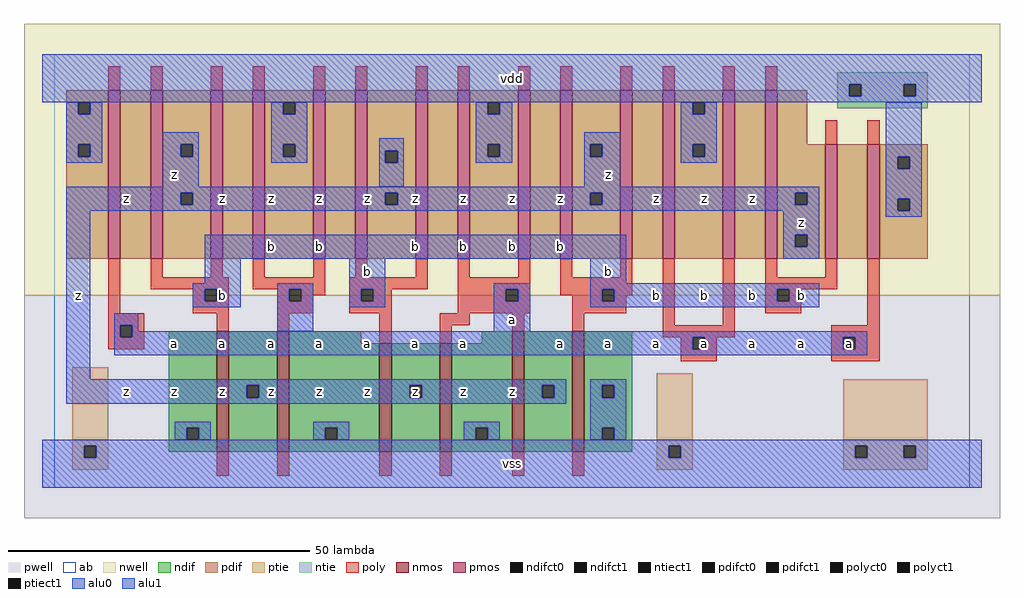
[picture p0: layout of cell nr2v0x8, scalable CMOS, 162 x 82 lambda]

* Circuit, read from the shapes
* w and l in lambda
.subckt nr2v0x8 a b vdd vss z
M1 z b vss vss nfet w=20 l=2 m=2
M2 vss a z vss nfet w=20 l=2 m=2
M3 z b vss vss nfet w=18 l=2
M4 vss a z vss nfet w=18 l=2
M5 n1 a vdd vdd pfet w=28 l=2
M6 z b n1 vdd pfet w=28 l=2
M7 n2 b z vdd pfet w=28 l=2
M8 vdd a n2 vdd pfet w=28 l=2
M9 n3 a vdd vdd pfet w=28 l=2
M10 z b n3 vdd pfet w=28 l=2
M11 n4 b z vdd pfet w=28 l=2
M12 vdd a n4 vdd pfet w=28 l=2
M13 n5 a vdd vdd pfet w=28 l=2
M14 z b n5 vdd pfet w=28 l=2
M15 n6 b z vdd pfet w=28 l=2
M16 vdd a n6 vdd pfet w=28 l=2
M17 n7 a vdd vdd pfet w=28 l=2
M18 z b n7 vdd pfet w=28 l=2
M19 n8 b z vdd pfet w=19 l=2
M20 vdd a n8 vdd pfet w=19 l=2
.ends

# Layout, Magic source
magic
tech scmos
<< ab >>
rect 0 0 152 72
<< nwell >>
rect -5 32 157 77
<< pwell >>
rect -5 -5 157 32
<< poly >>
rect 9 66 11 70
rect 16 66 18 70
rect 26 66 28 70
rect 33 66 35 70
rect 43 66 45 70
rect 50 66 52 70
rect 60 66 62 70
rect 67 66 69 70
rect 77 66 79 70
rect 84 66 86 70
rect 94 66 96 70
rect 101 66 103 70
rect 111 66 113 70
rect 118 66 120 70
rect 128 57 130 61
rect 135 57 137 61
rect 9 29 11 38
rect 16 35 18 38
rect 26 35 28 38
rect 33 35 35 38
rect 43 35 45 38
rect 50 35 52 38
rect 60 35 62 38
rect 16 33 29 35
rect 33 33 45 35
rect 23 31 25 33
rect 27 31 29 33
rect 23 29 29 31
rect 9 27 15 29
rect 9 25 11 27
rect 13 25 15 27
rect 27 26 29 29
rect 37 31 39 33
rect 41 32 45 33
rect 49 33 62 35
rect 67 35 69 38
rect 77 35 79 38
rect 67 33 79 35
rect 41 31 43 32
rect 37 29 43 31
rect 49 31 51 33
rect 53 31 56 33
rect 49 29 56 31
rect 67 31 75 33
rect 77 31 79 33
rect 84 35 86 38
rect 94 35 96 38
rect 84 33 96 35
rect 84 32 91 33
rect 67 29 79 31
rect 86 31 91 32
rect 93 32 96 33
rect 93 31 95 32
rect 86 29 95 31
rect 37 26 39 29
rect 9 23 15 25
rect 54 24 56 29
rect 64 27 69 29
rect 64 24 66 27
rect 76 26 78 29
rect 86 26 88 29
rect 101 27 103 38
rect 111 27 113 38
rect 118 35 120 38
rect 128 35 130 38
rect 118 33 130 35
rect 118 31 120 33
rect 122 31 124 33
rect 118 29 124 31
rect 135 27 137 38
rect 101 25 113 27
rect 129 25 137 27
rect 104 23 106 25
rect 108 23 110 25
rect 104 21 110 23
rect 129 23 131 25
rect 133 23 137 25
rect 129 21 137 23
rect 27 2 29 6
rect 37 2 39 6
rect 54 2 56 6
rect 64 2 66 6
rect 76 2 78 6
rect 86 2 88 6
<< ndif >>
rect 19 10 27 26
rect 19 8 22 10
rect 24 8 27 10
rect 19 6 27 8
rect 29 17 37 26
rect 29 15 32 17
rect 34 15 37 17
rect 29 6 37 15
rect 39 24 51 26
rect 71 24 76 26
rect 39 10 54 24
rect 39 8 45 10
rect 47 8 54 10
rect 39 6 54 8
rect 56 17 64 24
rect 56 15 59 17
rect 61 15 64 17
rect 56 6 64 15
rect 66 10 76 24
rect 66 8 70 10
rect 72 8 76 10
rect 66 6 76 8
rect 78 17 86 26
rect 78 15 81 17
rect 83 15 86 17
rect 78 6 86 15
rect 88 17 96 26
rect 88 15 91 17
rect 93 15 96 17
rect 88 10 96 15
rect 88 8 91 10
rect 93 8 96 10
rect 88 6 96 8
<< pdif >>
rect 2 64 9 66
rect 2 62 4 64
rect 6 62 9 64
rect 2 57 9 62
rect 2 55 4 57
rect 6 55 9 57
rect 2 38 9 55
rect 11 38 16 66
rect 18 57 26 66
rect 18 55 21 57
rect 23 55 26 57
rect 18 49 26 55
rect 18 47 21 49
rect 23 47 26 49
rect 18 38 26 47
rect 28 38 33 66
rect 35 64 43 66
rect 35 62 38 64
rect 40 62 43 64
rect 35 57 43 62
rect 35 55 38 57
rect 40 55 43 57
rect 35 38 43 55
rect 45 38 50 66
rect 52 56 60 66
rect 52 54 55 56
rect 57 54 60 56
rect 52 49 60 54
rect 52 47 55 49
rect 57 47 60 49
rect 52 38 60 47
rect 62 38 67 66
rect 69 64 77 66
rect 69 62 72 64
rect 74 62 77 64
rect 69 57 77 62
rect 69 55 72 57
rect 74 55 77 57
rect 69 38 77 55
rect 79 38 84 66
rect 86 57 94 66
rect 86 55 89 57
rect 91 55 94 57
rect 86 49 94 55
rect 86 47 89 49
rect 91 47 94 49
rect 86 38 94 47
rect 96 38 101 66
rect 103 64 111 66
rect 103 62 106 64
rect 108 62 111 64
rect 103 57 111 62
rect 103 55 106 57
rect 108 55 111 57
rect 103 38 111 55
rect 113 38 118 66
rect 120 57 125 66
rect 120 49 128 57
rect 120 47 123 49
rect 125 47 128 49
rect 120 42 128 47
rect 120 40 123 42
rect 125 40 128 42
rect 120 38 128 40
rect 130 38 135 57
rect 137 55 145 57
rect 137 53 140 55
rect 142 53 145 55
rect 137 48 145 53
rect 137 46 140 48
rect 142 46 145 48
rect 137 38 145 46
<< alu1 >>
rect -2 67 154 72
rect -2 65 132 67
rect 134 65 141 67
rect 143 65 154 67
rect -2 64 154 65
rect 18 57 24 59
rect 18 55 21 57
rect 23 55 24 57
rect 18 50 24 55
rect 88 57 94 59
rect 88 55 89 57
rect 91 55 94 57
rect 88 50 94 55
rect 2 49 127 50
rect 2 47 21 49
rect 23 47 55 49
rect 57 47 89 49
rect 91 47 123 49
rect 125 47 127 49
rect 2 46 127 47
rect 2 18 6 46
rect 121 42 127 46
rect 25 38 95 42
rect 121 40 123 42
rect 125 40 127 42
rect 121 38 127 40
rect 25 34 31 38
rect 23 33 31 34
rect 23 31 25 33
rect 27 31 31 33
rect 23 30 31 31
rect 10 27 14 29
rect 10 25 11 27
rect 13 26 14 27
rect 49 33 55 38
rect 89 34 95 38
rect 49 31 51 33
rect 53 31 55 33
rect 49 30 55 31
rect 73 33 79 34
rect 73 31 75 33
rect 77 31 79 33
rect 73 26 79 31
rect 89 33 127 34
rect 89 31 91 33
rect 93 31 120 33
rect 122 31 127 33
rect 89 30 127 31
rect 13 25 135 26
rect 10 23 106 25
rect 108 23 131 25
rect 133 23 135 25
rect 10 22 135 23
rect 2 17 85 18
rect 2 15 32 17
rect 34 15 59 17
rect 61 15 81 17
rect 83 15 85 17
rect 2 14 85 15
rect -2 7 154 8
rect -2 5 5 7
rect 7 5 102 7
rect 104 5 133 7
rect 135 5 141 7
rect 143 5 154 7
rect -2 0 154 5
<< ptie >>
rect 3 7 9 20
rect 3 5 5 7
rect 7 5 9 7
rect 100 7 106 19
rect 3 3 9 5
rect 100 5 102 7
rect 104 5 106 7
rect 100 3 106 5
rect 131 7 145 18
rect 131 5 133 7
rect 135 5 141 7
rect 143 5 145 7
rect 131 3 145 5
<< ntie >>
rect 130 67 145 69
rect 130 65 132 67
rect 134 65 141 67
rect 143 65 145 67
rect 130 63 145 65
<< nmos >>
rect 27 6 29 26
rect 37 6 39 26
rect 54 6 56 24
rect 64 6 66 24
rect 76 6 78 26
rect 86 6 88 26
<< pmos >>
rect 9 38 11 66
rect 16 38 18 66
rect 26 38 28 66
rect 33 38 35 66
rect 43 38 45 66
rect 50 38 52 66
rect 60 38 62 66
rect 67 38 69 66
rect 77 38 79 66
rect 84 38 86 66
rect 94 38 96 66
rect 101 38 103 66
rect 111 38 113 66
rect 118 38 120 66
rect 128 38 130 57
rect 135 38 137 57
<< polyct0 >>
rect 39 31 41 33
<< polyct1 >>
rect 25 31 27 33
rect 11 25 13 27
rect 51 31 53 33
rect 75 31 77 33
rect 91 31 93 33
rect 120 31 122 33
rect 106 23 108 25
rect 131 23 133 25
<< ndifct0 >>
rect 22 8 24 10
rect 45 8 47 10
rect 70 8 72 10
rect 91 15 93 17
rect 91 8 93 10
<< ndifct1 >>
rect 32 15 34 17
rect 59 15 61 17
rect 81 15 83 17
<< ntiect1 >>
rect 132 65 134 67
rect 141 65 143 67
<< ptiect1 >>
rect 5 5 7 7
rect 102 5 104 7
rect 133 5 135 7
rect 141 5 143 7
<< pdifct0 >>
rect 4 62 6 64
rect 4 55 6 57
rect 38 62 40 64
rect 38 55 40 57
rect 55 54 57 56
rect 72 62 74 64
rect 72 55 74 57
rect 106 62 108 64
rect 106 55 108 57
rect 140 53 142 55
rect 140 46 142 48
<< pdifct1 >>
rect 21 55 23 57
rect 21 47 23 49
rect 55 47 57 49
rect 89 55 91 57
rect 89 47 91 49
rect 123 47 125 49
rect 123 40 125 42
<< alu0 >>
rect 2 62 4 64
rect 6 62 8 64
rect 2 57 8 62
rect 36 62 38 64
rect 40 62 42 64
rect 2 55 4 57
rect 6 55 8 57
rect 2 54 8 55
rect 36 57 42 62
rect 70 62 72 64
rect 74 62 76 64
rect 36 55 38 57
rect 40 55 42 57
rect 36 54 42 55
rect 54 56 58 58
rect 54 54 55 56
rect 57 54 58 56
rect 70 57 76 62
rect 104 62 106 64
rect 108 62 110 64
rect 70 55 72 57
rect 74 55 76 57
rect 70 54 76 55
rect 54 50 58 54
rect 104 57 110 62
rect 104 55 106 57
rect 108 55 110 57
rect 104 54 110 55
rect 138 55 144 64
rect 138 53 140 55
rect 142 53 144 55
rect 138 48 144 53
rect 138 46 140 48
rect 142 46 144 48
rect 138 45 144 46
rect 37 33 43 34
rect 37 31 39 33
rect 41 31 43 33
rect 37 26 43 31
rect 89 17 95 18
rect 89 15 91 17
rect 93 15 95 17
rect 20 10 26 11
rect 20 8 22 10
rect 24 8 26 10
rect 43 10 49 11
rect 43 8 45 10
rect 47 8 49 10
rect 68 10 74 11
rect 68 8 70 10
rect 72 8 74 10
rect 89 10 95 15
rect 89 8 91 10
rect 93 8 95 10
<< labels >>
rlabel alu1 20 16 20 16 6 z
rlabel alu1 12 16 12 16 6 z
rlabel alu1 20 24 20 24 6 a
rlabel alu1 4 32 4 32 6 z
rlabel alu1 20 52 20 52 6 z
rlabel alu1 12 48 12 48 6 z
rlabel alu1 52 16 52 16 6 z
rlabel alu1 44 16 44 16 6 z
rlabel alu1 36 16 36 16 6 z
rlabel alu1 28 16 28 16 6 z
rlabel alu1 28 24 28 24 6 a
rlabel alu1 52 24 52 24 6 a
rlabel alu1 44 24 44 24 6 a
rlabel alu1 36 24 36 24 6 a
rlabel alu1 28 32 28 32 6 b
rlabel alu1 44 40 44 40 6 b
rlabel alu1 36 40 36 40 6 b
rlabel alu1 52 36 52 36 6 b
rlabel alu1 28 48 28 48 6 z
rlabel alu1 52 48 52 48 6 z
rlabel alu1 44 48 44 48 6 z
rlabel alu1 36 48 36 48 6 z
rlabel alu1 76 4 76 4 6 vss
rlabel alu1 76 16 76 16 6 z
rlabel alu1 68 16 68 16 6 z
rlabel ndifct1 60 16 60 16 6 z
rlabel alu1 60 24 60 24 6 a
rlabel alu1 84 24 84 24 6 a
rlabel alu1 68 24 68 24 6 a
rlabel alu1 76 28 76 28 6 a
rlabel alu1 60 40 60 40 6 b
rlabel alu1 84 40 84 40 6 b
rlabel alu1 76 40 76 40 6 b
rlabel alu1 68 40 68 40 6 b
rlabel alu1 60 48 60 48 6 z
rlabel alu1 84 48 84 48 6 z
rlabel alu1 76 48 76 48 6 z
rlabel alu1 68 48 68 48 6 z
rlabel alu1 76 68 76 68 6 vdd
rlabel alu1 92 24 92 24 6 a
rlabel alu1 116 24 116 24 6 a
rlabel alu1 108 24 108 24 6 a
rlabel alu1 100 24 100 24 6 a
rlabel alu1 116 32 116 32 6 b
rlabel alu1 108 32 108 32 6 b
rlabel alu1 100 32 100 32 6 b
rlabel alu1 92 36 92 36 6 b
rlabel alu1 92 52 92 52 6 z
rlabel alu1 116 48 116 48 6 z
rlabel alu1 108 48 108 48 6 z
rlabel alu1 100 48 100 48 6 z
rlabel alu1 124 24 124 24 6 a
rlabel polyct1 132 24 132 24 6 a
rlabel alu1 124 32 124 32 6 b
rlabel alu1 124 44 124 44 6 z
<< end >>
